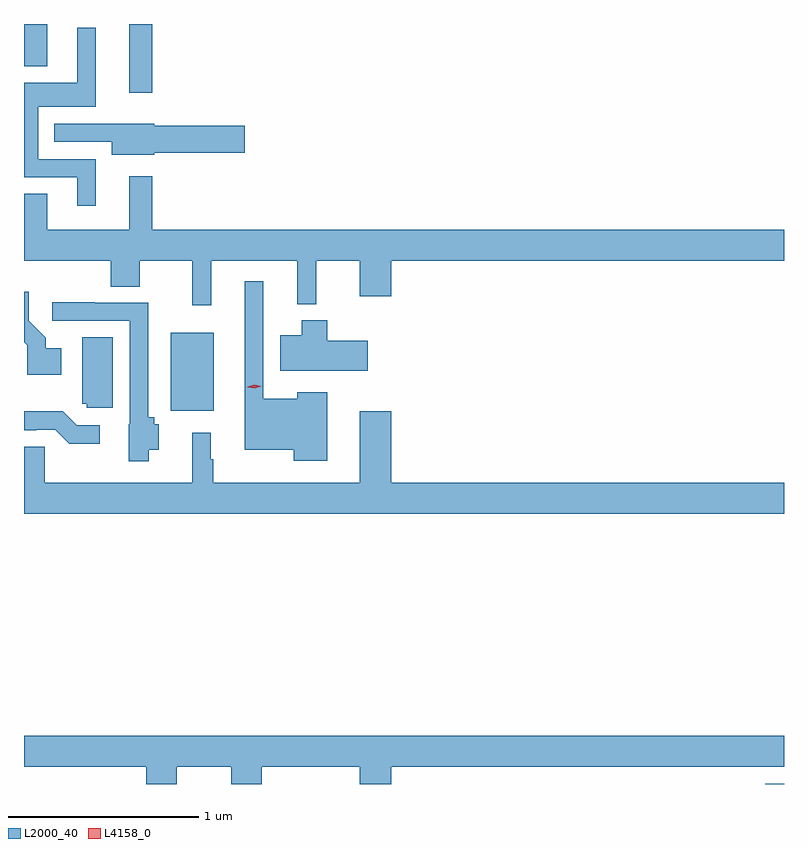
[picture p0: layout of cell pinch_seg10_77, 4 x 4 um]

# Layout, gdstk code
import gdstk
lib = gdstk.Library(unit=1e-6, precision=1e-09)
def R(c, l, rs):  # rectangles x0, y0, x1, y1
    for r in rs: c.add(gdstk.rectangle(r[:2], r[2:], *l))
def P(c, l, *ps):  # polygons
    for p in ps: c.add(gdstk.Polygon(p, *l))
L2000_40 = (2000, 40)
L4158_0 = (4158, 0)

pinch_seg10_77 = lib.new_cell('pinch_seg10_77')
R(pinch_seg10_77, L2000_40, [(814.493,1298.894,814.592,1298.896), (811.364,1300.859,811.591,1301.269), (811.145,1302.531,811.267,1302.894), (810.592,1302.671,810.715,1302.894)])
P(pinch_seg10_77, L2000_40, [(810.97,1302.183),(810.667,1302.183),(810.667,1302.458),(810.97,1302.458),(810.97,1302.874),(810.872,1302.874),(810.872,1302.586),(810.592,1302.586),(810.592,1302.087),(810.872,1302.087),(810.872,1301.937),(810.97,1301.937)],
  [(811.278,1302.217),(811.753,1302.217),(811.753,1302.359),(811.278,1302.359),(811.278,1302.37),(811.059,1302.37),(811.059,1302.369),(810.752,1302.369),(810.752,1302.273),(811.055,1302.273),(811.055,1302.206),(811.278,1302.206)],
  [(811.577,1301.648),(812.03,1301.648),(812.03,1301.42),(812.13,1301.42),(812.13,1301.648),(812.36,1301.648),(812.36,1301.46),(812.524,1301.46),(812.524,1301.648),(814.592,1301.648),(814.592,1301.812),(811.267,1301.812),(811.267,1302.094),(811.145,1302.094),(811.145,1301.812),(810.715,1301.812),(810.715,1302.001),(810.592,1302.001),(810.592,1301.648),(811.049,1301.648),(811.049,1301.512),(811.201,1301.512),(811.201,1301.648),(811.477,1301.648),(811.477,1301.415),(811.577,1301.415)],
  [(812.188,1300.957),(812.03,1300.957),(812.03,1300.921),(811.851,1300.921),(811.851,1301.539),(811.754,1301.539),(811.754,1300.652),(812.013,1300.652),(812.013,1300.595),(812.188,1300.595)],
  [(810.787,1301.188),(810.706,1301.188),(810.706,1301.243),(810.616,1301.333),(810.616,1301.485),(810.592,1301.485),(810.592,1301.22),(810.609,1301.203),(810.609,1301.048),(810.787,1301.048)],
  [(811.248,1300.652),(811.3,1300.652),(811.3,1300.788),(811.278,1300.788),(811.278,1300.823),(811.245,1300.823),(811.245,1301.427),(810.965,1301.427),(810.965,1301.43),(810.741,1301.43),(810.741,1301.331),(811.149,1301.331),(811.149,1300.788),(811.142,1300.788),(811.142,1300.592),(811.248,1300.592)],
  [(812.401,1301.227),(812.189,1301.227),(812.189,1301.335),(812.054,1301.335),(812.054,1301.257),(811.94,1301.257),(811.94,1301.069),(812.401,1301.069)],
  [(811.06,1301.245),(810.899,1301.245),(810.899,1300.896),(810.921,1300.896),(810.921,1300.875),(811.06,1300.875)],
  [(810.991,1300.782),(810.87,1300.782),(810.797,1300.855),(810.592,1300.855),(810.592,1300.755),(810.656,1300.755),(810.656,1300.758),(810.756,1300.758),(810.829,1300.685),(810.991,1300.685)],
  [(814.592,1300.48),(812.524,1300.48),(812.524,1300.855),(812.36,1300.855),(812.36,1300.48),(811.588,1300.48),(811.588,1300.604),(811.576,1300.604),(811.576,1300.744),(811.477,1300.744),(811.477,1300.48),(810.702,1300.48),(810.702,1300.67),(810.592,1300.67),(810.592,1300.316),(814.592,1300.316)],
  [(811.395,1298.984),(811.684,1298.984),(811.684,1298.894),(811.844,1298.894),(811.844,1298.984),(812.36,1298.984),(812.36,1298.894),(812.524,1298.894),(812.524,1298.984),(814.592,1298.984),(814.592,1299.148),(810.592,1299.148),(810.592,1298.984),(811.235,1298.984),(811.235,1298.894),(811.395,1298.894)])
P(pinch_seg10_77, L4158_0, [(811.806,1300.976),(811.769,1300.983),(811.769,1300.983),(811.769,1300.984),(811.804,1300.996),(811.84,1300.988),(811.841,1300.988),(811.84,1300.988)])

lib.write_gds('pinch_seg10_77.gds')
